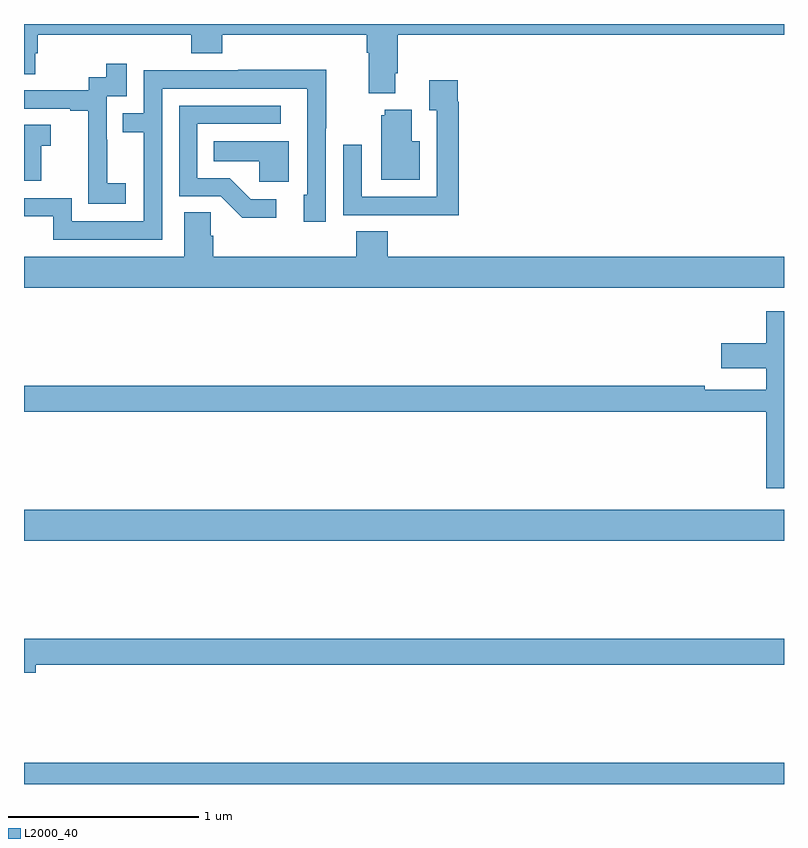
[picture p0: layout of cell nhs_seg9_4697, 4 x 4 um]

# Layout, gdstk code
import gdstk
lib = gdstk.Library(unit=1e-6, precision=1e-09)
def R(c, l, rs):  # rectangles x0, y0, x1, y1
    for r in rs: c.add(gdstk.rectangle(r[:2], r[2:], *l))
def P(c, l, *ps):  # polygons
    for p in ps: c.add(gdstk.Polygon(p, *l))
L2000_40 = (2000, 40)

nhs_seg9_4697 = lib.new_cell('nhs_seg9_4697')
R(nhs_seg9_4697, L2000_40, [(383,1168.5,387,1168.612), (383,1169.78,387,1169.944)])
P(nhs_seg9_4697, L2000_40, [(384.955,1172.242),(384.968,1172.242),(384.968,1172.444),(387,1172.444),(387,1172.5),(383,1172.5),(383,1172.236),(383.059,1172.236),(383.059,1172.346),(383.072,1172.346),(383.072,1172.444),(383.879,1172.444),(383.879,1172.345),(384.044,1172.345),(384.044,1172.444),(384.803,1172.444),(384.803,1172.348),(384.815,1172.348),(384.815,1172.135),(384.955,1172.135)],
  [(383.536,1171.663),(383.438,1171.663),(383.438,1171.892),(383.436,1171.892),(383.436,1172.121),(383.541,1172.121),(383.541,1172.29),(383.433,1172.29),(383.433,1172.22),(383.34,1172.22),(383.34,1172.151),(383,1172.151),(383,1172.055),(383.243,1172.055),(383.243,1172.043),(383.339,1172.043),(383.339,1171.759),(383.338,1171.759),(383.338,1171.553),(383.536,1171.553)],
  [(383.727,1172.16),(384.491,1172.16),(384.491,1171.921),(384.492,1171.921),(384.492,1171.602),(384.473,1171.602),(384.473,1171.458),(384.588,1171.458),(384.588,1171.951),(384.591,1171.951),(384.591,1172.258),(384.127,1172.258),(384.127,1172.256),(383.631,1172.256),(383.631,1172.031),(383.521,1172.031),(383.521,1171.93),(383.631,1171.93),(383.631,1171.461),(383.25,1171.461),(383.25,1171.584),(383,1171.584),(383,1171.488),(383.153,1171.488),(383.153,1171.365),(383.727,1171.365)],
  [(385.289,1172.09),(385.282,1172.09),(385.282,1172.203),(385.133,1172.203),(385.133,1172.047),(385.173,1172.047),(385.173,1171.59),(384.777,1171.59),(384.777,1171.864),(384.681,1171.864),(384.681,1171.494),(384.997,1171.494),(384.997,1171.493),(385.289,1171.493)],
  [(384.328,1171.578),(384.193,1171.578),(384.082,1171.689),(383.913,1171.689),(383.913,1171.974),(384.352,1171.974),(384.352,1172.07),(383.817,1172.07),(383.817,1171.593),(384.036,1171.593),(384.149,1171.481),(384.328,1171.481)],
  [(385.084,1171.882),(385.042,1171.882),(385.042,1172.05),(384.899,1172.05),(384.899,1172.019),(384.881,1172.019),(384.881,1171.679),(385.084,1171.679)],
  [(383.091,1171.859),(383.14,1171.859),(383.14,1171.969),(383,1171.969),(383,1171.674),(383.091,1171.674)],
  [(384.394,1171.882),(383.998,1171.882),(383.998,1171.778),(384.237,1171.778),(384.237,1171.67),(384.394,1171.67)],
  [(387,1171.276),(384.914,1171.276),(384.914,1171.409),(384.749,1171.409),(384.749,1171.276),(383.996,1171.276),(383.996,1171.385),(383.982,1171.385),(383.982,1171.508),(383.843,1171.508),(383.843,1171.276),(383,1171.276),(383,1171.112),(387,1171.112)],
  [(387,1170.988),(386.906,1170.988),(386.906,1170.819),(386.67,1170.819),(386.67,1170.689),(386.906,1170.689),(386.906,1170.576),(386.582,1170.576),(386.582,1170.596),(383,1170.596),(383,1170.46),(386.906,1170.46),(386.906,1170.057),(387,1170.057)],
  [(383.062,1169.128),(387,1169.128),(387,1169.264),(383,1169.264),(383,1169.086),(383.062,1169.086)])

lib.write_gds('nhs_seg9_4697.gds')
